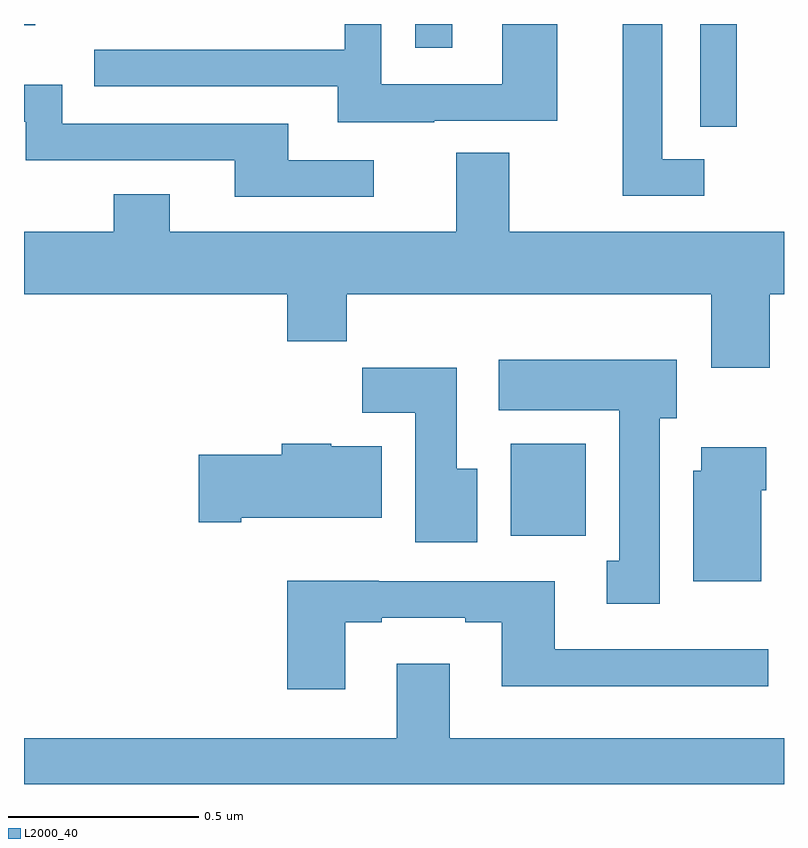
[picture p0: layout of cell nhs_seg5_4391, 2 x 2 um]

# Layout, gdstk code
import gdstk
lib = gdstk.Library(unit=1e-6, precision=1e-09)
def R(c, l, rs):  # rectangles x0, y0, x1, y1
    for r in rs: c.add(gdstk.rectangle(r[:2], r[2:], *l))
def P(c, l, *ps):  # polygons
    for p in ps: c.add(gdstk.Polygon(p, *l))
L2000_40 = (2000, 40)

nhs_seg5_4391 = lib.new_cell('nhs_seg5_4391')
R(nhs_seg5_4391, L2000_40, [(171.281,861.452,171.478,861.694), (171.03,862.737,171.127,862.799), (170,862.796,170.03,862.799)])
P(nhs_seg5_4391, L2000_40, [(171.79,862.443),(171.679,862.443),(171.679,862.799),(171.575,862.799),(171.575,862.347),(171.79,862.347)],
  [(171.079,862.545),(171.403,862.545),(171.403,862.799),(171.258,862.799),(171.258,862.641),(170.94,862.641),(170.94,862.799),(170.844,862.799),(170.844,862.731),(170.185,862.731),(170.185,862.635),(170.825,862.635),(170.825,862.541),(171.079,862.541)],
  [(171.876,862.682),(171.875,862.682),(171.875,862.799),(171.78,862.799),(171.78,862.528),(171.876,862.528)],
  [(170.92,862.44),(170.695,862.44),(170.695,862.536),(170.1,862.536),(170.1,862.639),(170,862.639),(170,862.542),(170.004,862.542),(170.004,862.44),(170.555,862.44),(170.555,862.344),(170.92,862.344)],
  [(171.962,862.088),(172,862.088),(172,862.252),(171.277,862.252),(171.277,862.46),(171.137,862.46),(171.137,862.252),(170.383,862.252),(170.383,862.351),(170.236,862.351),(170.236,862.252),(170,862.252),(170,862.088),(170.693,862.088),(170.693,861.964),(170.849,861.964),(170.849,862.088),(171.809,862.088),(171.809,861.894),(171.962,861.894)],
  [(171.673,861.762),(171.718,861.762),(171.718,861.916),(171.249,861.916),(171.249,861.782),(171.566,861.782),(171.566,861.386),(171.533,861.386),(171.533,861.273),(171.673,861.273)],
  [(171.193,861.628),(171.139,861.628),(171.139,861.895),(170.89,861.895),(170.89,861.776),(171.029,861.776),(171.029,861.435),(171.193,861.435)],
  [(170.572,861.5),(170.941,861.5),(170.941,861.688),(170.808,861.688),(170.808,861.694),(170.678,861.694),(170.678,861.666),(170.46,861.666),(170.46,861.488),(170.572,861.488)],
  [(171.94,861.572),(171.953,861.572),(171.953,861.685),(171.782,861.685),(171.782,861.624),(171.761,861.624),(171.761,861.332),(171.94,861.332)],
  [(170.845,861.225),(170.941,861.225),(170.941,861.237),(171.161,861.237),(171.161,861.225),(171.257,861.225),(171.257,861.056),(171.958,861.056),(171.958,861.153),(171.397,861.153),(171.397,861.333),(170.933,861.333),(170.933,861.334),(170.693,861.334),(170.693,861.048),(170.845,861.048)],
  [(172,860.92),(171.121,860.92),(171.121,861.115),(170.981,861.115),(170.981,860.92),(170,860.92),(170,860.799),(172,860.799)])

lib.write_gds('nhs_seg5_4391.gds')
